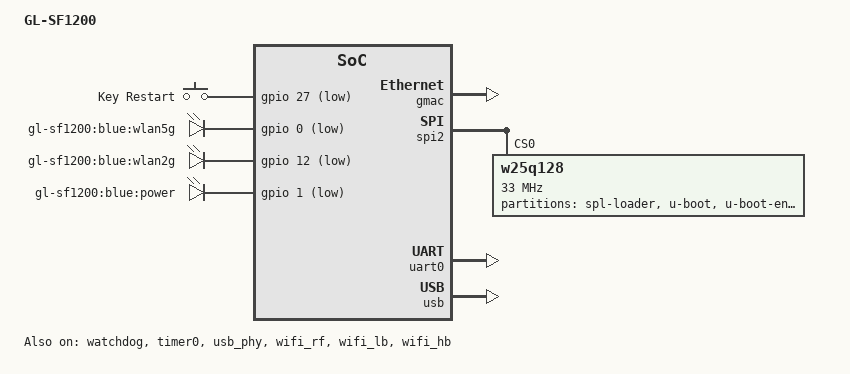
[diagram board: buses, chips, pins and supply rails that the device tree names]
/dts-v1/;

#include "sf19a28_fullmask.dtsi"
#include "sf19a28-thermal_common.dtsi"

/ {
	#address-cells = <1>;
	#size-cells = <1>;
	compatible = "glinet,gl-sf1200", "siflower,sf19a28-soc";
	model = "GL-SF1200";
	aliases {
		led-boot = &power_led;
		led-failsafe = &power_led;
		led-running = &power_led;
		//led-upgrade = &power_led;
	};
};

&gmac {
	status = "okay";
	delay = <0x24 0x21>;
	esw-rst-gpio = <11>;
};

&spi2 {
	status = "okay";
	//use-dma;
	dmas = <&gdma 10
	&gdma 11>;
	dma-names = "tx", "rx";

	#address-cells = <1>;
	#size-cells = <0>;

	w25q128@0 {
		compatible = "w25q128";
		reg = <0>;	/* chip select */
		spi-max-frequency = <33000000>;

		bank-width = <2>;
		device-width = <2>;
		#address-cells = <1>;
		#size-cells = <1>;

		partition@0 {
			label = "spl-loader";
			reg = <0x0 0x20000>; /* 128k */
			read-only;
		};

		partition@20000 {
			label = "u-boot";
			reg = <0x20000 0x50000>; /* 320k */
			read-only;
		};

		partition@70000 {
			label = "u-boot-env";
			reg = <0x70000 0x10000>; /* 64k */
		};

		factory:partition@80000 {
			label = "factory";
			reg = <0x80000 0x10000>; /* 64k */
			read-only;
		};

		partition@90000 {
			label = "firmware";
			reg = <0x90000 0xf70000>; /* 576k-16M */
		};
	};
};

&uart0 {
	status = "okay";
};

&watchdog {
	status = "okay";
};

&timer0 {
	status = "okay";
};

&usb_phy {
       status = "okay";
};

&usb {
       status = "okay";
};

&wifi_rf {
	status = "okay";
    /*only support ext pa for 5G*/
	force_expa = <1>;
};

&gpio_keys {
	status = "okay";
	restart@27 {
		label = "Key Restart";
		linux,code = <0x198>;
		gpios = <&gpio 27 1>;
		poll-interval = <10>;
		debounce-interval = <20>;
	};
};

&leds {
	status = "okay";
	wlan5g {
		label = "gl-sf1200:blue:wlan5g";
		gpios = <&gpio 0 1>;
	};

	wlan2g {
		label = "gl-sf1200:blue:wlan2g";
		gpios = <&gpio 12 1>;
	};

	power_led: power{
		label = "gl-sf1200:blue:power";
		gpios = <&gpio 1 1>;
	};
};

&wifi_lb {
	status = "okay";

	#address-cells = <1>;
	#size-cells = <0>;
	//gpio-leds = <&gpio 12 0>;
	smp-affinity = <2>;
};

&wifi_hb {
	status = "okay";

	#address-cells = <1>;
	#size-cells = <0>;
	//gpio-leds = <&gpio 12 0>;
	smp-affinity = <3>;
};
